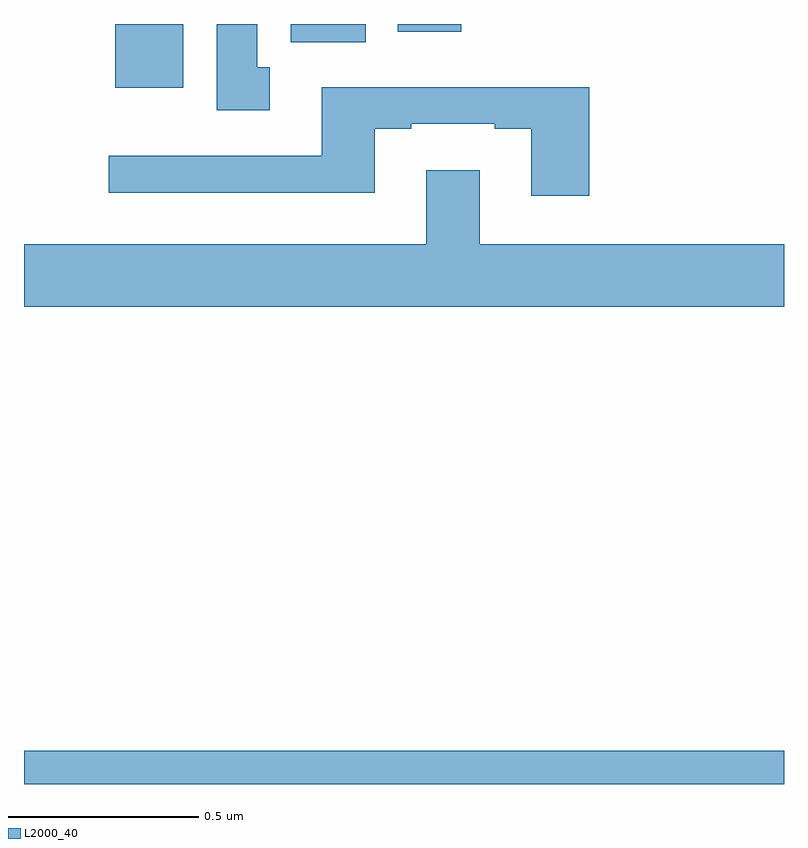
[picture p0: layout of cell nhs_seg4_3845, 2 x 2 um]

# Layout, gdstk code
import gdstk
lib = gdstk.Library(unit=1e-6, precision=1e-09)
def R(c, l, rs):  # rectangles x0, y0, x1, y1
    for r in rs: c.add(gdstk.rectangle(r[:2], r[2:], *l))
def P(c, l, *ps):  # polygons
    for p in ps: c.add(gdstk.Polygon(p, *l))
L2000_40 = (2000, 40)

nhs_seg4_3845 = lib.new_cell('nhs_seg4_3845')
R(nhs_seg4_3845, L2000_40, [(158,792.9,160,792.988), (158.24,794.732,158.419,794.9), (158.702,794.852,158.899,794.9), (158.984,794.88,159.151,794.9)])
P(nhs_seg4_3845, L2000_40, [(158.647,794.786),(158.614,794.786),(158.614,794.9),(158.507,794.9),(158.507,794.673),(158.647,794.673)],
  [(159.488,794.734),(158.783,794.734),(158.783,794.553),(158.223,794.553),(158.223,794.456),(158.923,794.456),(158.923,794.625),(159.019,794.625),(159.019,794.637),(159.239,794.637),(159.239,794.625),(159.335,794.625),(159.335,794.448),(159.488,794.448)],
  [(160,794.32),(159.199,794.32),(159.199,794.515),(159.059,794.515),(159.059,794.32),(158,794.32),(158,794.156),(160,794.156)])

lib.write_gds('nhs_seg4_3845.gds')
